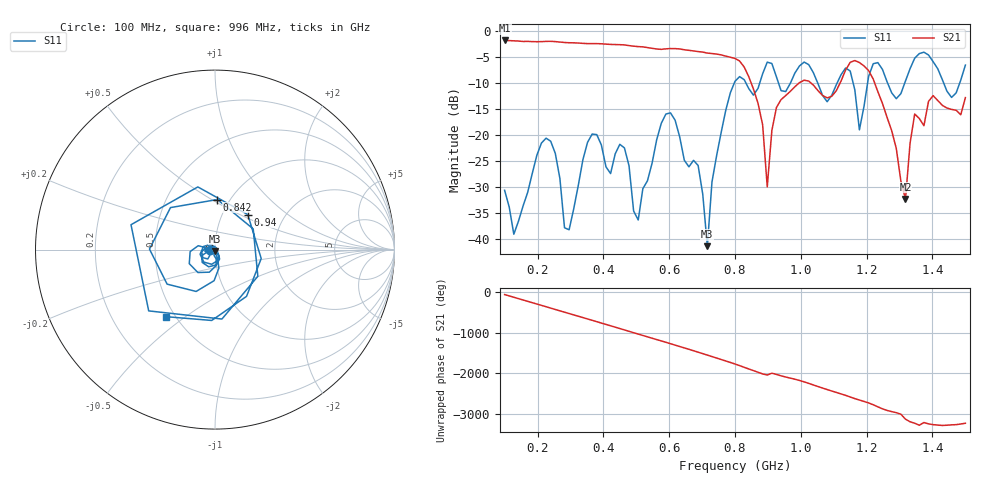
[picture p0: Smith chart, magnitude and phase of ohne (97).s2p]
! NanoVNA-App
! Date: 2025-09-25 14:21:33
! Start: 100MHz Stop: 1,5GHz Points: 101
! S-Parameter data: F S11 S21 S12 S22
# Hz S RI R 50
!  Frequency  S11_Real  S11_Imag  S21_Real  S21_Imag  S12_Real  S12_Imag  S22_Real  S22_Imag
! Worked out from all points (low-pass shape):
!   101 points, 100 MHz to 1.5 GHz, reference 50 ohm
!   highest |S21| = -1.79 dB at 100 MHz (marker M1); lowest = -32.3 dB at 1.318 GHz (marker M2)
!   |S21| within 3 dB of the highest: start of sweep to 770.8 MHz
!   lowest |S11| = -41.4 dB at 716 MHz (marker M3), VSWR 1.02, Z = 49.8 - j0.828 ohm
!   |S11| at or under -10 dB: start of sweep to 797.8 MHz; 833.3 MHz to 875.1 MHz (41.77 MHz wide, 4.89 % of centre); 1.051 GHz to 1.11 GHz (58.74 MHz wide, 5.43 % of centre) (the widest 3 of 7)
!   S12 and S22 are empty: the file has one direction only
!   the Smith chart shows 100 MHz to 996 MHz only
!   S11 on the Smith chart (normalised r, x): 100 MHz: 0.94, -0.01; 842 MHz: 0.88, +0.53; 940 MHz: 1.31, +0.55; 996 MHz: 0.45, -0.42
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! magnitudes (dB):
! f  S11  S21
! 100 MHz  -30.6  -1.8
! 128 MHz  -39.1  -1.9
! 226 MHz  -20.6  -2.0
! 296 MHz  -38.2  -2.2
! 338 MHz  -24.7  -2.4
! 464 MHz  -22.5  -2.7
! 506 MHz  -36.4  -3.0
! 576 MHz  -17.7  -3.5
! 688 MHz  -25.9  -3.9
! 716 MHz  -41.4  -4.2
! 800 MHz  -9.7  -5.3
! 842 MHz  -11.1  -8.8
! 898 MHz  -6.0  -30.0
! 940 MHz  -11.5  -13.2
! 996 MHz  -6.7  -9.9
! 1.038 GHz  -8.0  -10.4
! 1.178 GHz  -19.0  -6.0
! 1.22 GHz  -6.3  -9.2
! 1.276 GHz  -11.9  -19.1
! 1.318 GHz  -9.6  -32.3
! 1.346 GHz  -5.2  -16.0
! 1.5 GHz  -6.5  -12.8
